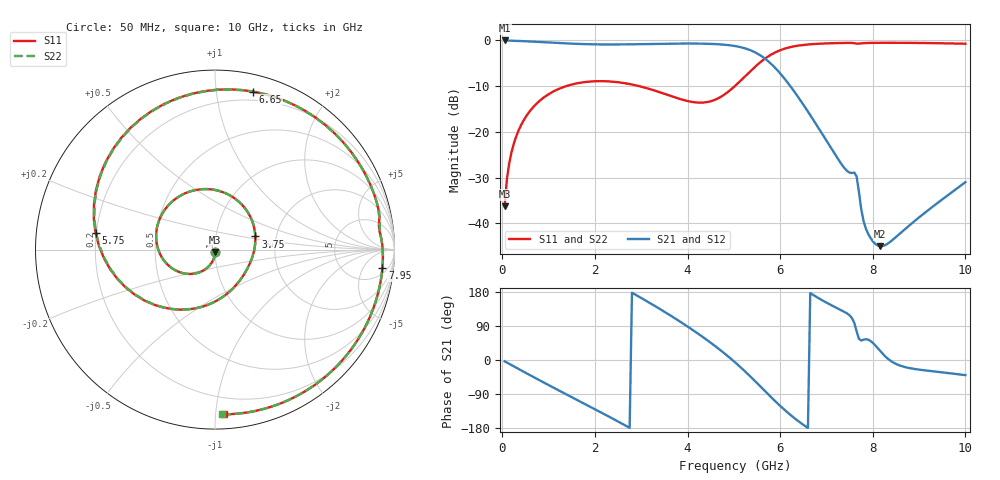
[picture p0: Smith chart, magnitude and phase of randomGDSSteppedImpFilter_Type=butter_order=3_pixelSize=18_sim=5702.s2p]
! freq	dB(S11)	phase(S11)	dB(S12)	phase(S12)
!  dB(S21)	phase(S21)	dB(S22)	phase(S22)
!S-par simulation data
#  GHz  S  DB  R 50
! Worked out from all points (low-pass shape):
!   200 points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, 50 MHz to 10 GHz, reference 50 ohm
!   highest |S21| = -0.02 dB at 50 MHz (marker M1); lowest = -45.0 dB at 8.15 GHz (marker M2)
!   |S21| within 3 dB of the highest: start of sweep to 5.531 GHz
!   lowest |S11| = -36.2 dB at 50 MHz (marker M3), VSWR 1.03, Z = 50 - j1.54 ohm
!   |S11| at or under -10 dB: start of sweep to 1.38 GHz; 2.954 GHz to 5.021 GHz (2.066 GHz wide, 51.8 % of centre)
!   |S22| runs from -36.2 to -0.5 dB; largest |S21 - S12| = 0
!   S11 on the Smith chart (normalised r, x): 50 MHz: 1.00, -0.03; 3.75 GHz: 1.56, +0.24; 5.75 GHz: 0.20, +0.07; 6.65 GHz: 0.13, +1.26; 7.95 GHz: 8, -14; 10 GHz: 0.09, -1.05
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0.05  -36.24 -88.1  -0.02 -3.4  -0.02 -3.4  -36.24 -88.1
0.2  -24.40 -100.2  -0.07 -13.5  -0.07 -13.5  -24.40 -100.3
0.5  -16.83 -121.9  -0.19 -33.5  -0.19 -33.5  -16.83 -121.9
1.1  -11.18 -162.0  -0.52 -72.6  -0.52 -72.6  -11.18 -162.1
1.75  -9.15 156.2  -0.81 -113.9  -0.81 -113.9  -9.15 156.1
2.65  -9.36 97.7  -0.87 -172.3  -0.87 -172.3  -9.36 97.6
3.4  -11.33 44.8  -0.74 134.9  -0.74 134.9  -11.32 44.9
3.75  -12.53 18.1  -0.70 108.3  -0.70 108.3  -12.52 18.3
4.35  -13.58 -32.3  -0.72 58.9  -0.72 58.9  -13.57 -31.9
5.05  -9.73 -102.7  -1.28 -8.6  -1.28 -8.6  -9.73 -102.6
5.45  -5.84 -150.2  -2.57 -54.7  -2.57 -54.7  -5.84 -150.6
5.75  -3.45 172.0  -4.63 -91.5  -4.63 -91.5  -3.46 171.3
6.25  -1.41 113.9  -10.41 -147.7  -10.41 -147.7  -1.41 113.1
6.65  -0.86 76.4  -16.34 176.7  -16.34 176.7  -0.86 75.5
6.7  -0.82 72.3  -17.12 172.8  -17.12 172.8  -0.82 71.4
7.2  -0.60 35.7  -25.17 138.7  -25.17 138.7  -0.60 34.8
7.65  -0.70 8.3  -29.70 76.1  -29.70 76.1  -0.68 7.5
7.8  -0.60 1.3  -39.44 53.5  -39.44 53.5  -0.60 0.5
7.95  -0.55 -6.4  -43.15 50.3  -43.15 50.3  -0.55 -7.2
8.15  -0.53 -16.1  -44.97 25.1  -44.97 25.1  -0.53 -16.9
8.35  -0.53 -25.2  -44.21 1.0  -44.21 1.0  -0.53 -26.0
10  -0.73 -87.0  -30.98 -40.0  -30.98 -40.0  -0.74 -87.6
